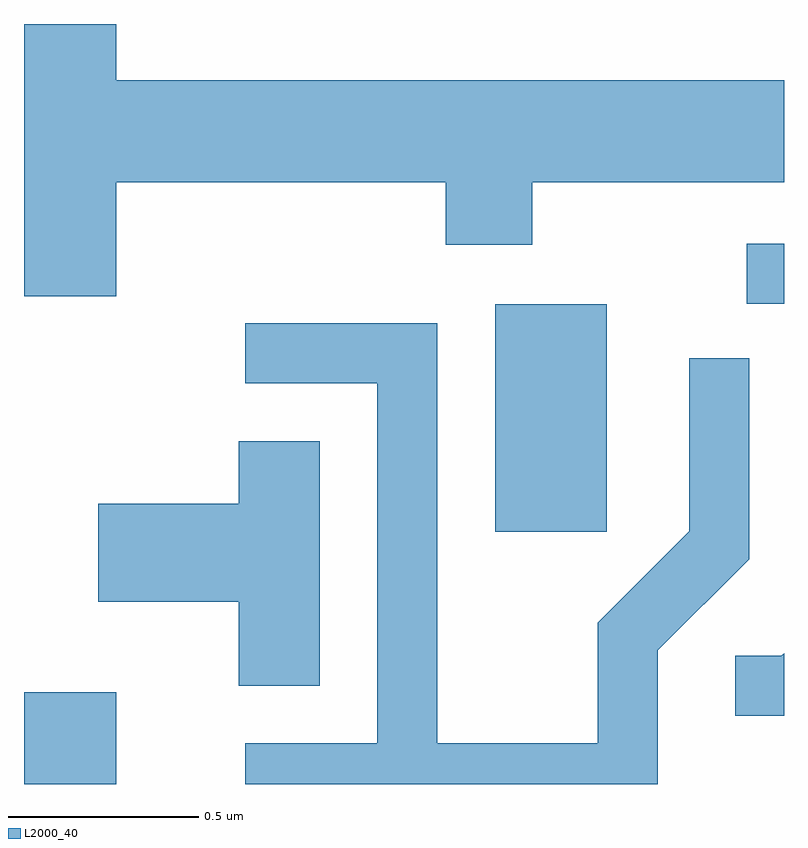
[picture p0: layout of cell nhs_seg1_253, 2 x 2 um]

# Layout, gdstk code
import gdstk
lib = gdstk.Library(unit=1e-6, precision=1e-09)
def R(c, l, rs):  # rectangles x0, y0, x1, y1
    for r in rs: c.add(gdstk.rectangle(r[:2], r[2:], *l))
def P(c, l, *ps):  # polygons
    for p in ps: c.add(gdstk.Polygon(p, *l))
L2000_40 = (2000, 40)

nhs_seg1_253 = lib.new_cell('nhs_seg1_253')
R(nhs_seg1_253, L2000_40, [(186.611,955.712,186.854,955.954), (187.851,956.376,188.144,956.974), (188.513,956.976,188.611,957.134)])
P(nhs_seg1_253, L2000_40, [(186.854,957.296),(187.721,957.296),(187.721,957.131),(187.949,957.131),(187.949,957.296),(188.611,957.296),(188.611,957.564),(186.854,957.564),(186.854,957.712),(186.611,957.712),(186.611,956.996),(186.854,956.996)],
  [(188.279,956.064),(188.519,956.304),(188.519,956.833),(188.361,956.833),(188.361,956.377),(188.121,956.137),(188.121,955.819),(187.699,955.819),(187.699,956.924),(187.193,956.924),(187.193,956.766),(187.541,956.766),(187.541,955.819),(187.193,955.819),(187.193,955.712),(188.279,955.712)],
  [(187.389,956.614),(187.176,956.614),(187.176,956.449),(186.806,956.449),(186.806,956.191),(187.176,956.191),(187.176,955.971),(187.389,955.971)],
  [(188.611,956.056),(188.604,956.049),(188.483,956.049),(188.483,955.891),(188.611,955.891)])

lib.write_gds('nhs_seg1_253.gds')
